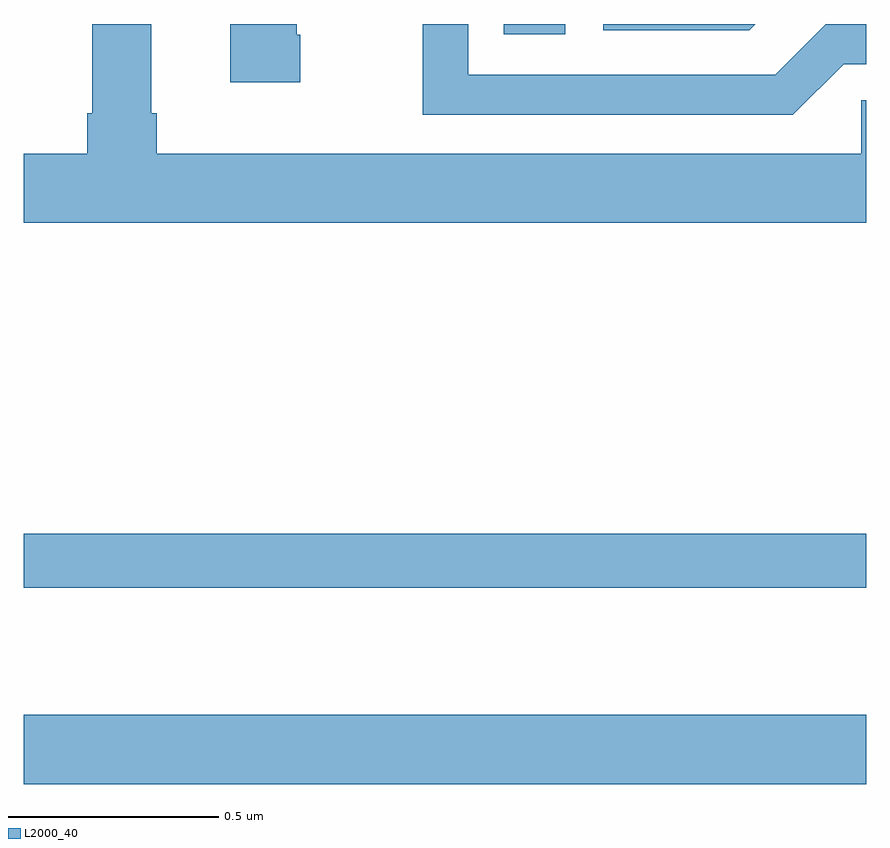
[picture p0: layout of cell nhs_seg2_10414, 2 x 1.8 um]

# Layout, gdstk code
import gdstk
lib = gdstk.Library(unit=1e-6, precision=1e-09)
def R(c, l, rs):  # rectangles x0, y0, x1, y1
    for r in rs: c.add(gdstk.rectangle(r[:2], r[2:], *l))
def P(c, l, *ps):  # polygons
    for p in ps: c.add(gdstk.Polygon(p, *l))
L2000_40 = (2000, 40)

nhs_seg2_10414 = lib.new_cell('nhs_seg2_10414')
R(nhs_seg2_10414, L2000_40, [(241,620.996,243,621.16), (241,621.462,243,621.59), (242.14,622.776,242.286,622.8)])
P(nhs_seg2_10414, L2000_40, [(243,622.619),(242.988,622.619),(242.988,622.492),(241.316,622.492),(241.316,622.588),(241.303,622.588),(241.303,622.8),(241.163,622.8),(241.163,622.588),(241.151,622.588),(241.151,622.492),(241,622.492),(241,622.328),(243,622.328)],
  [(241.656,622.774),(241.648,622.774),(241.648,622.8),(241.49,622.8),(241.49,622.662),(241.656,622.662)],
  [(242.946,622.704),(243,622.704),(243,622.8),(242.904,622.8),(242.784,622.68),(242.055,622.68),(242.055,622.8),(241.947,622.8),(241.947,622.584),(242.826,622.584)],
  [(242.737,622.8),(242.376,622.8),(242.376,622.785),(242.722,622.785)])

lib.write_gds('nhs_seg2_10414.gds')
